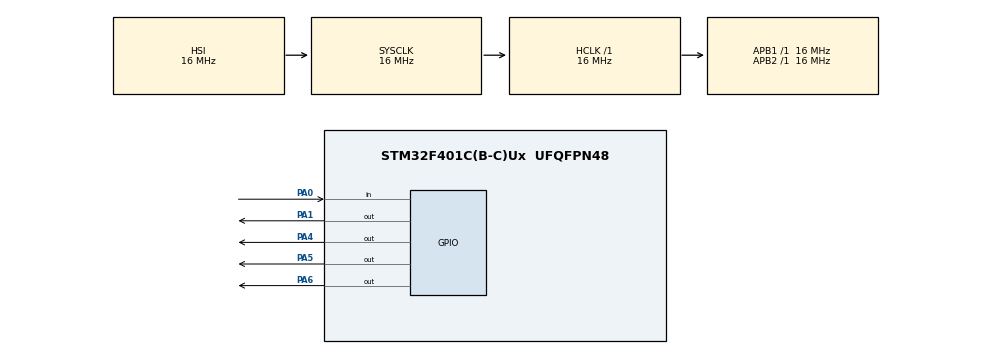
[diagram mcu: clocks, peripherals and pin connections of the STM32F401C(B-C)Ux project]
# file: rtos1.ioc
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FREERTOS.Tasks01=defaultTask,24,128,StartDefaultTask,Default,NULL,Dynamic,NULL,NULL;myTask02,8,128,StartTask02,Default,NULL,Dynamic,NULL,NULL;myTask03,8,128,StartTask03,Default,NULL,Dynamic,NULL,NULL
Mcu.Family=STM32F4
Mcu.Name=STM32F401C(B-C)Ux
Mcu.Package=UFQFPN48
NVIC.PriorityGroup=NVIC_PRIORITYGROUP_4
NVIC.TIM2_IRQn=true\:15\:0\:false\:false\:true\:false\:false\:true\:true
NVIC.TimeBase=TIM2_IRQn
NVIC.TimeBaseIP=TIM2
PA0-WKUP.Signal=GPIO_Input
PA1.Signal=GPIO_Output
PA4.Signal=GPIO_Output
PA5.Signal=GPIO_Output
PA6.Signal=GPIO_Output
ProjectManager.HeapSize=0x200
ProjectManager.StackSize=0x400
ProjectManager.TargetToolchain=STM32CubeIDE
RCC.AHBFreq_Value=16000000
RCC.APB1Freq_Value=16000000
RCC.APB2Freq_Value=16000000
RCC.CortexFreq_Value=16000000
RCC.HSE_VALUE=25000000
RCC.HSI_VALUE=16000000
RCC.LSE_VALUE=32768
RCC.SYSCLKFreq_VALUE=16000000
RCC.VCOOutputFreq_Value=192000000
TIM1.Prescaler=16
VP_FREERTOS_VS_CMSIS_V2.Mode=CMSIS_V2
VP_SYS_VS_tim2.Mode=TIM2
VP_TIM1_VS_ClockSourceINT.Mode=Internal
board=custom

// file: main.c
/* USER CODE BEGIN Header */
/**
  ******************************************************************************
  * @file           : main.c
  * @brief          : Main program body
  ******************************************************************************
  * @attention
  *
  * Copyright (c) 2024 STMicroelectronics.
  * All rights reserved.
  *
  * This software is licensed under terms that can be found in the LICENSE file
  * in the root directory of this software component.
  * If no LICENSE file comes with this software, it is provided AS-IS.
  *
  ******************************************************************************
  */
/* USER CODE END Header */
#include "main.h"
#include "cmsis_os.h"

TIM_HandleTypeDef htim1;

/* Definitions for defaultTask */
osThreadId_t defaultTaskHandle;
const osThreadAttr_t defaultTask_attributes = {
  .name = "defaultTask",
  .stack_size = 128 * 4,
  .priority = (osPriority_t) osPriorityNormal,
};
/* Definitions for myTask02 */
osThreadId_t myTask02Handle;
const osThreadAttr_t myTask02_attributes = {
  .name = "myTask02",
  .stack_size = 128 * 4,
  .priority = (osPriority_t) osPriorityLow,
};
/* Definitions for myTask03 */
osThreadId_t myTask03Handle;
const osThreadAttr_t myTask03_attributes = {
  .name = "myTask03",
  .stack_size = 128 * 4,
  .priority = (osPriority_t) osPriorityLow,
};
/* USER CODE BEGIN PV */
#define TRIG_PIN GPIO_PIN_1
#define TRIG_PORT GPIOA
#define ECHO_PIN GPIO_PIN_0
#define ECHO_PORT GPIOA
/* USER CODE END PV */

void SystemClock_Config(void);
static void MX_GPIO_Init(void);
static void MX_TIM1_Init(void);
void StartDefaultTask(void *argument);
void StartTask02(void *argument);
void StartTask03(void *argument);

/* USER CODE BEGIN PFP */
uint32_t pMillis;
 uint32_t val1 = 0;
 uint32_t val2 = 0;
 uint16_t distance  = 0;
/* USER CODE END PFP */

int main(void)
{

  /* MCU Configuration--------------------------------------------------------*/

  /* Reset of all peripherals, Initializes the Flash interface and the Systick. */
  HAL_Init();

  /* Configure the system clock */
  SystemClock_Config();

  /* Initialize all configured peripherals */
  MX_GPIO_Init();
  MX_TIM1_Init();

  /* Init scheduler */
  osKernelInitialize();

  /* Create the thread(s) */
  /* creation of defaultTask */
  defaultTaskHandle = osThreadNew(StartDefaultTask, NULL, &defaultTask_attributes);

  /* creation of myTask02 */
  myTask02Handle = osThreadNew(StartTask02, NULL, &myTask02_attributes);

  /* creation of myTask03 */
  myTask03Handle = osThreadNew(StartTask03, NULL, &myTask03_attributes);

  /* Start scheduler */
  osKernelStart();

  /* We should never get here as control is now taken by the scheduler */
  /* Infinite loop */
  while (1)
  {

  }
}

void SystemClock_Config(void)
{
  RCC_OscInitTypeDef RCC_OscInitStruct = {0};
  RCC_ClkInitTypeDef RCC_ClkInitStruct = {0};

  /** Configure the main internal regulator output voltage
  */
  __HAL_RCC_PWR_CLK_ENABLE();
  __HAL_PWR_VOLTAGESCALING_CONFIG(PWR_REGULATOR_VOLTAGE_SCALE2);

  /** Initializes the RCC Oscillators according to the specified parameters
  * in the RCC_OscInitTypeDef structure.
  */
  RCC_OscInitStruct.OscillatorType = RCC_OSCILLATORTYPE_HSI;
  RCC_OscInitStruct.HSIState = RCC_HSI_ON;
  RCC_OscInitStruct.HSICalibrationValue = RCC_HSICALIBRATION_DEFAULT;
  RCC_OscInitStruct.PLL.PLLState = RCC_PLL_NONE;
  if (HAL_RCC_OscConfig(&RCC_OscInitStruct) != HAL_OK)
  {
    Error_Handler();
  }

  /** Initializes the CPU, AHB and APB buses clocks
  */
  RCC_ClkInitStruct.ClockType = RCC_CLOCKTYPE_HCLK|RCC_CLOCKTYPE_SYSCLK
                              |RCC_CLOCKTYPE_PCLK1|RCC_CLOCKTYPE_PCLK2;
  RCC_ClkInitStruct.SYSCLKSource = RCC_SYSCLKSOURCE_HSI;
  RCC_ClkInitStruct.AHBCLKDivider = RCC_SYSCLK_DIV1;
  RCC_ClkInitStruct.APB1CLKDivider = RCC_HCLK_DIV1;
  RCC_ClkInitStruct.APB2CLKDivider = RCC_HCLK_DIV1;

  if (HAL_RCC_ClockConfig(&RCC_ClkInitStruct, FLASH_LATENCY_0) != HAL_OK)
  {
    Error_Handler();
  }
}

static void MX_TIM1_Init(void)
{

  TIM_ClockConfigTypeDef sClockSourceConfig = {0};
  TIM_MasterConfigTypeDef sMasterConfig = {0};

  htim1.Instance = TIM1;
  htim1.Init.Prescaler = 16;
  htim1.Init.CounterMode = TIM_COUNTERMODE_UP;
  htim1.Init.Period = 65535;
  htim1.Init.ClockDivision = TIM_CLOCKDIVISION_DIV1;
  htim1.Init.RepetitionCounter = 0;
  htim1.Init.AutoReloadPreload = TIM_AUTORELOAD_PRELOAD_DISABLE;
  if (HAL_TIM_Base_Init(&htim1) != HAL_OK)
  {
    Error_Handler();
  }
  sClockSourceConfig.ClockSource = TIM_CLOCKSOURCE_INTERNAL;
  if (HAL_TIM_ConfigClockSource(&htim1, &sClockSourceConfig) != HAL_OK)
  {
    Error_Handler();
  }
  sMasterConfig.MasterOutputTrigger = TIM_TRGO_RESET;
  sMasterConfig.MasterSlaveMode = TIM_MASTERSLAVEMODE_DISABLE;
  if (HAL_TIMEx_MasterConfigSynchronization(&htim1, &sMasterConfig) != HAL_OK)
  {
    Error_Handler();
  }

}

static void MX_GPIO_Init(void)
{
  GPIO_InitTypeDef GPIO_InitStruct = {0};

  /* GPIO Ports Clock Enable */
  __HAL_RCC_GPIOA_CLK_ENABLE();

  /*Configure GPIO pin Output Level */
  HAL_GPIO_WritePin(GPIOA, GPIO_PIN_1|GPIO_PIN_4|GPIO_PIN_5|GPIO_PIN_6, GPIO_PIN_RESET);

  /*Configure GPIO pin : PA0 */
  GPIO_InitStruct.Pin = GPIO_PIN_0;
  GPIO_InitStruct.Mode = GPIO_MODE_INPUT;
  GPIO_InitStruct.Pull = GPIO_NOPULL;
  HAL_GPIO_Init(GPIOA, &GPIO_InitStruct);

  /*Configure GPIO pins : PA1 PA4 PA5 PA6 */
  GPIO_InitStruct.Pin = GPIO_PIN_1|GPIO_PIN_4|GPIO_PIN_5|GPIO_PIN_6;
  GPIO_InitStruct.Mode = GPIO_MODE_OUTPUT_PP;
  GPIO_InitStruct.Pull = GPIO_NOPULL;
  GPIO_InitStruct.Speed = GPIO_SPEED_FREQ_LOW;
  HAL_GPIO_Init(GPIOA, &GPIO_InitStruct);

}

void StartDefaultTask(void *argument)
{
  /* USER CODE BEGIN 5 */
  /* Infinite loop */
  for(;;)
  {
    osDelay(200);
  }
  /* USER CODE END 5 */
}

void StartTask02(void *argument)
{
  /* USER CODE BEGIN StartTask02 */
	HAL_TIM_Base_Start(&htim1);
	HAL_GPIO_WritePin(TRIG_PORT, TRIG_PIN, GPIO_PIN_RESET);
  /* Infinite loop */
  for(;;)
  {
	  	  	  HAL_GPIO_WritePin(TRIG_PORT, TRIG_PIN, GPIO_PIN_SET);
	 	  	  __HAL_TIM_SET_COUNTER(&htim1, 0);
	 	  	   while (__HAL_TIM_GET_COUNTER (&htim1) < 10);  // wait for 10 us
	 	  	   HAL_GPIO_WritePin(TRIG_PORT, TRIG_PIN, GPIO_PIN_RESET);

	 	  	   pMillis = HAL_GetTick();
	 	  	   while (!(HAL_GPIO_ReadPin (ECHO_PORT, ECHO_PIN)) && pMillis + 10 >  HAL_GetTick());
	 	  	   val1 = __HAL_TIM_GET_COUNTER (&htim1);

	 	  	   pMillis = HAL_GetTick();
	 	  	   while ((HAL_GPIO_ReadPin (ECHO_PORT, ECHO_PIN)) && pMillis + 50 > HAL_GetTick());
	 	  	   val2 = __HAL_TIM_GET_COUNTER (&htim1);

	 	  	   distance = (val2-val1)* 0.034/2;
    osDelay(10);
  }
  /* USER CODE END StartTask02 */
}

void StartTask03(void *argument)
{
  /* USER CODE BEGIN StartTask03 */

  /* Infinite loop */
  for(;;)
  {
	  if (distance < 10) {

	 		  		 HAL_GPIO_WritePin(GPIOA, GPIO_PIN_4, GPIO_PIN_SET);
	 		  		HAL_GPIO_WritePin(GPIOA, GPIO_PIN_5, GPIO_PIN_RESET);
	 		  		HAL_GPIO_WritePin(GPIOA, GPIO_PIN_6, GPIO_PIN_RESET);
	 			}
	 		  	   else if (distance > 10 && distance <15) {
	 		  		HAL_GPIO_WritePin(GPIOA, GPIO_PIN_4, GPIO_PIN_RESET);
	 		  		HAL_GPIO_WritePin(GPIOA, GPIO_PIN_5, GPIO_PIN_SET);
	 		  		HAL_GPIO_WritePin(GPIOA, GPIO_PIN_6, GPIO_PIN_RESET);
	 			}
	 		  	 else if ( distance >15) {
	 		  			  		HAL_GPIO_WritePin(GPIOA, GPIO_PIN_4, GPIO_PIN_RESET);
	 		  			  		HAL_GPIO_WritePin(GPIOA, GPIO_PIN_5, GPIO_PIN_RESET);
	 		  			  		HAL_GPIO_WritePin(GPIOA, GPIO_PIN_6, GPIO_PIN_SET);
	 		  				}
    osDelay(10);
  }
  /* USER CODE END StartTask03 */
}

void HAL_TIM_PeriodElapsedCallback(TIM_HandleTypeDef *htim)
{
  if (htim->Instance == TIM2) {
    HAL_IncTick();
  }
}

void Error_Handler(void)
{
  __disable_irq();
  while (1)
  {
  }
}
